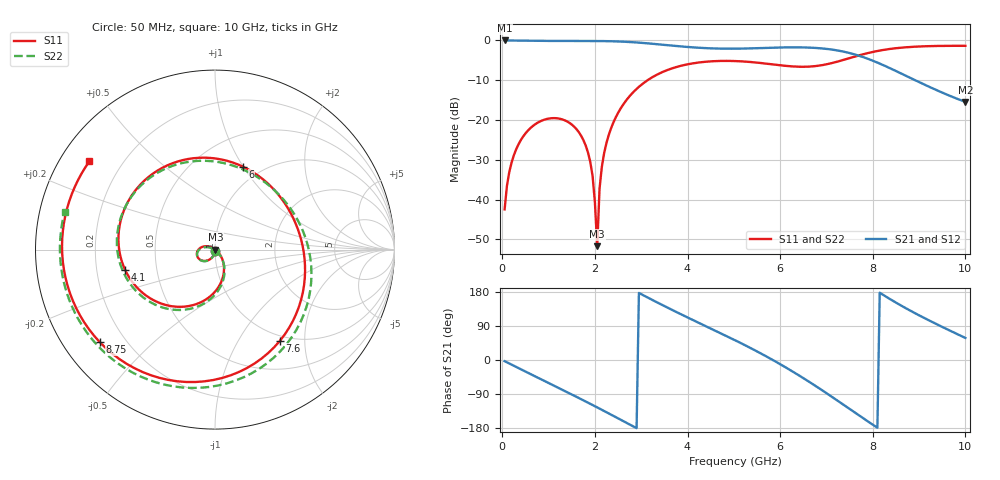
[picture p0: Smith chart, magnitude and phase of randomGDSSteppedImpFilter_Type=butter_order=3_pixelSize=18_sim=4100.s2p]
! freq	dB(S11)	phase(S11)	dB(S12)	phase(S12)
!  dB(S21)	phase(S21)	dB(S22)	phase(S22)
!S-par simulation data
#  GHz  S  DB  R 50
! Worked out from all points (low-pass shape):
!   200 points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, 50 MHz to 10 GHz, reference 50 ohm
!   highest |S21| = -0.01 dB at 50 MHz (marker M1); lowest = -15.4 dB at 10 GHz (marker M2)
!   |S21| within 3 dB of the highest: start of sweep to 7.442 GHz
!   lowest |S11| = -51.7 dB at 2.05 GHz (marker M3), VSWR 1.01, Z = 50.3 + j0.0297 ohm
!   |S11| at or under -10 dB: start of sweep to 3.137 GHz
!   |S22| runs from -48.9 to -1.3 dB; largest |S21 - S12| = 0
!   S11 on the Smith chart (normalised r, x): 50 MHz: 1.00, -0.02; 4.1 GHz: 0.33, -0.10; 6 GHz: 0.82, +1.00; 7.6 GHz: 0.91, -1.53; 8.75 GHz: 0.11, -0.35; 10 GHz: 0.09, +0.31
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0.05  -42.46 -91.3  -0.01 -3.1  -0.01 -3.1  -42.46 -91.2
0.25  -28.85 -105.3  -0.03 -15.3  -0.03 -15.3  -28.85 -104.8
0.6  -22.11 -127.5  -0.08 -36.5  -0.08 -36.5  -22.11 -126.4
1.25  -19.70 -167.7  -0.13 -75.7  -0.13 -75.7  -19.71 -165.0
1.75  -25.01 160.5  -0.14 -106.3  -0.14 -106.3  -25.03 166.2
1.95  -34.09 145.2  -0.14 -118.8  -0.14 -118.8  -34.12 158.9
2.05  -51.71 6.5  -0.15 -125.1  -0.15 -125.1  -48.90 -89.0
2.1  -37.22 -34.7  -0.15 -128.3  -0.15 -128.3  -36.98 -48.6
2.15  -31.73 -40.6  -0.16 -131.4  -0.16 -131.4  -31.62 -46.8
2.35  -22.03 -55.7  -0.20 -144.3  -0.20 -144.3  -22.00 -55.6
2.85  -12.75 -89.1  -0.47 -176.6  -0.47 -176.6  -12.73 -86.0
3.4  -8.26 -124.6  -1.01 148.5  -1.01 148.5  -8.25 -119.6
4.1  -5.79 -167.4  -1.73 106.5  -1.73 106.5  -5.78 -160.0
5.05  -5.19 135.4  -2.07 50.8  -2.07 50.8  -5.18 146.9
6  -6.24 71.3  -1.77 -11.0  -1.77 -11.0  -6.22 88.1
6.7  -6.52 18.2  -1.84 -63.3  -1.84 -63.3  -6.51 36.5
7.15  -5.59 -17.8  -2.35 -99.9  -2.35 -99.9  -5.60 -1.2
7.6  -4.10 -54.7  -3.48 -137.7  -3.48 -137.7  -4.09 -40.3
8.35  -2.17 -113.4  -6.86 162.4  -6.86 162.4  -2.13 -100.0
8.75  -1.69 -141.2  -9.07 134.2  -9.07 134.2  -1.63 -126.8
9.35  -1.40 -178.3  -12.35 96.2  -12.35 96.2  -1.32 -161.3
10  -1.36 144.9  -15.45 58.2  -15.45 58.2  -1.27 165.9
